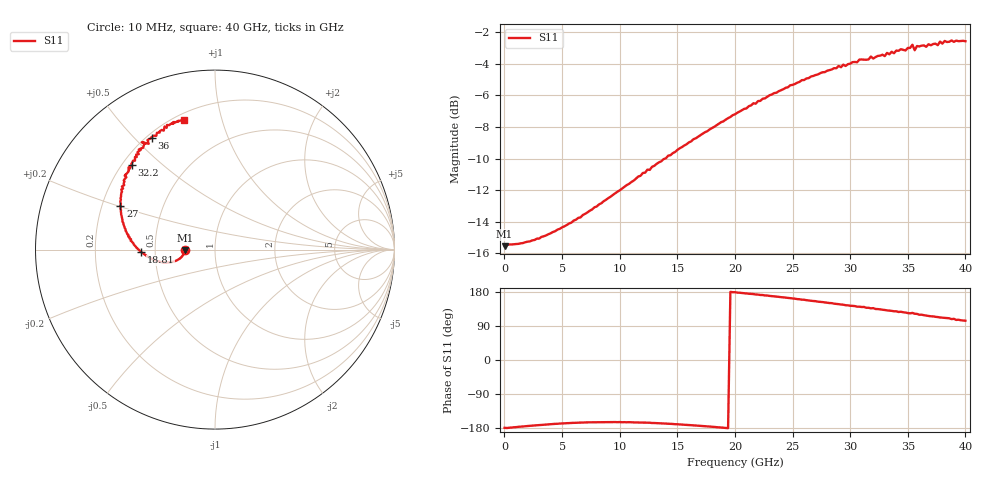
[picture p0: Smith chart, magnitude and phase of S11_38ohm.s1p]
!Agilent Technologies,N5227A,US51270434,A.10.00.00
!Agilent N5227A: A.10.00.00
!Date: Monday, March 30, 2026 11:27:45
!Correction: S11(Full 1 Port(1))
!S1P File: Measurement: S11:
# Hz S  dB  R 50
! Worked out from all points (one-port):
!   201 points, 10 MHz to 40 GHz, reference 50 ohm
!   lowest |S11| = -15.5 dB at 10 MHz (marker M1), VSWR 1.40, Z = 35.7 - j0.205 ohm
!   |S11| at or under -10 dB: start of sweep to 13.95 GHz
!   S11 on the Smith chart (normalised r, x): 10 MHz: 0.71, -0.00; 18.81 GHz: 0.42, -0.01; 27 GHz: 0.28, +0.20; 32.2 GHz: 0.24, +0.40; 36 GHz: 0.22, +0.56; 40 GHz: 0.24, +0.76
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1e7  -15.54 -179.0
5.00875e9  -14.35 -167.4
1.00075e10  -12.01 -163.8
1.500625e10  -9.45 -169.6
1.88053e10  -7.70 -178.2
2.0005e10  -7.20 178.9
2.500375e10  -5.34 162.4
2.700325e10  -4.72 155.2
3.00025e10  -4.00 143.1
3.12022e10  -3.75 140.0
3.180205e10  -3.55 136.3
3.2002e10  -3.68 136.9
3.220195e10  -3.59 134.6
3.40015e10  -3.18 128.5
3.420145e10  -3.19 126.7
3.44014e10  -3.09 127.3
3.500125e10  -3.01 123.9
3.52012e10  -3.01 123.1
3.540115e10  -2.81 124.3
3.56011e10  -3.15 122.1
3.580105e10  -2.89 121.6
3.6001e10  -2.91 119.5
3.780055e10  -2.61 112.3
3.860035e10  -2.62 110.1
3.88003e10  -2.53 107.8
3.900025e10  -2.62 108.7
3.92002e10  -2.54 105.8
4e10  -2.58 103.6
